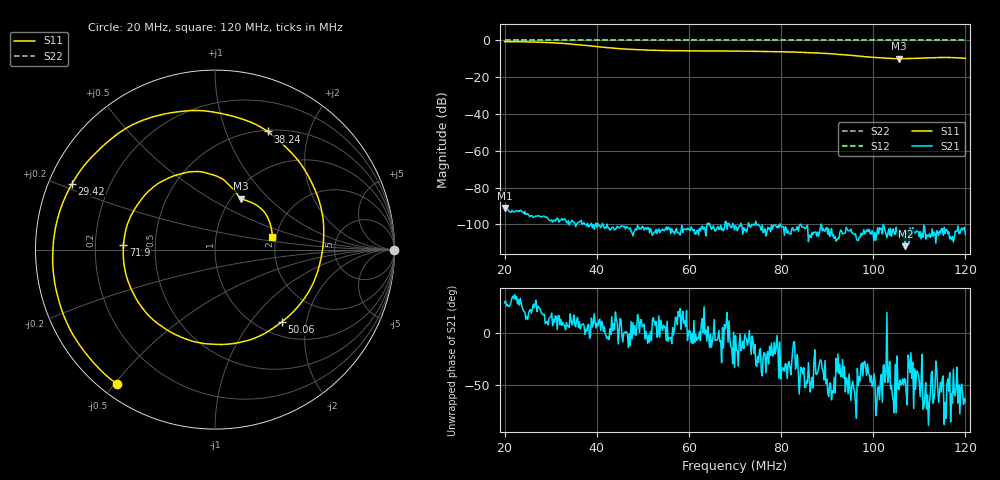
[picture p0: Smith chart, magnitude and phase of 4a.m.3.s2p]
! Anritsu VNA Master:  Model: MS2036C/10/77
! SN:  1601066
! /bd0/18may26.balun/4a.me3.s2p
! Existing Calibration Information:
! TYPE:  Current Settings,  Active Cal Settings
! TIME:  05/26/2018 03:29:39 PM,  05/26/2018 02:51:55 PM
! INTERNAL TEMP:  60.0 C,  59.5 C
! # POINTS:  500,  500
! START FREQ:  20.000 MHz,  20.000 MHz
! STOP FREQ:  120.000 MHz,  120.000 MHz
! SOURCE POWER:  High,  High
! IFBW:  50 Hz,  50 Hz
! AVG FACTOR:  1 ,  1
! REF PLANE 1:  0 mm,  0 mm
! REF PLANE 2:  0 mm,  0 mm
! CAL TYPE:  Full S11,  Full S11
! CAL METHOD:  SOLT,  SOLT
! CAL LINE TYPE:  Coax,  Coax
! DUT PORT 1:  K-Conn(M),  K-Conn(M)
! DUT PORT 2:  K-Conn(M),  K-Conn(M)
! CAL STATUS:  OK: Accuracy High,  --
# GHZ S DB R 50.0
! FREQ.GHZ  S11DB  S11A  S21DB  S21A  S12DB  S12A  S22DB  S22A
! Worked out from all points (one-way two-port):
!   500 points, 20 MHz to 120 MHz, reference 50 ohm
!   highest |S21| = -91.01 dB at 20 MHz (marker M1); lowest = -111.8 dB at 107 MHz (marker M2)
!   lowest |S11| = -9.9 dB at 105.6 MHz (marker M3), VSWR 1.94, Z = 55.3 + j35 ohm
!   |S11| at or under -10 dB: nowhere
!   |S22| runs from 0.0 to 0.0 dB; largest |S21 - S12| = 1
!   S11 on the Smith chart (normalised r, x): 20 MHz: 0.05, -0.51; 29.42 MHz: 0.07, +0.22; 38.24 MHz: 0.52, +1.41; 50.06 MHz: 1.25, -1.45; 71.9 MHz: 0.32, +0.02; 120 MHz: 1.90, +0.30
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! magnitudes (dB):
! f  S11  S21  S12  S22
! 20 MHz  -0.7  -91.0  0.0  0.0
! 25.41 MHz  -0.8  -95.6  0.0  0.0
! 29.42 MHz  -1.1  -97.0  0.0  0.0
! 32.83 MHz  -1.6  -97.2  0.0  0.0
! 36.83 MHz  -2.5  -100.0  0.0  0.0
! 38.24 MHz  -2.9  -101.4  0.0  0.0
! 44.85 MHz  -4.5  -102.0  0.0  0.0
! 50.06 MHz  -5.2  -101.4  0.0  0.0
! 53.47 MHz  -5.4  -102.4  0.0  0.0
! 70.1 MHz  -5.8  -100.7  0.0  0.0
! 71.9 MHz  -5.8  -101.7  0.0  0.0
! 81.52 MHz  -6.2  -103.6  0.0  0.0
! 86.73 MHz  -6.7  -104.5  0.0  0.0
! 90.34 MHz  -7.1  -102.3  0.0  0.0
! 95.55 MHz  -8.1  -104.8  0.0  0.0
! 99.16 MHz  -9.0  -102.8  0.0  0.0
! 103.4 MHz  -9.7  -102.4  0.0  0.0
! 105.6 MHz  -9.9  -105.8  0.0  0.0
! 107 MHz  -9.9  -111.8  0.0  0.0
! 115.4 MHz  -9.2  -101.5  0.0  0.0
! 117.4 MHz  -9.3  -109.6  0.0  0.0
! 120 MHz  -9.7  -105.6  0.0  0.0
